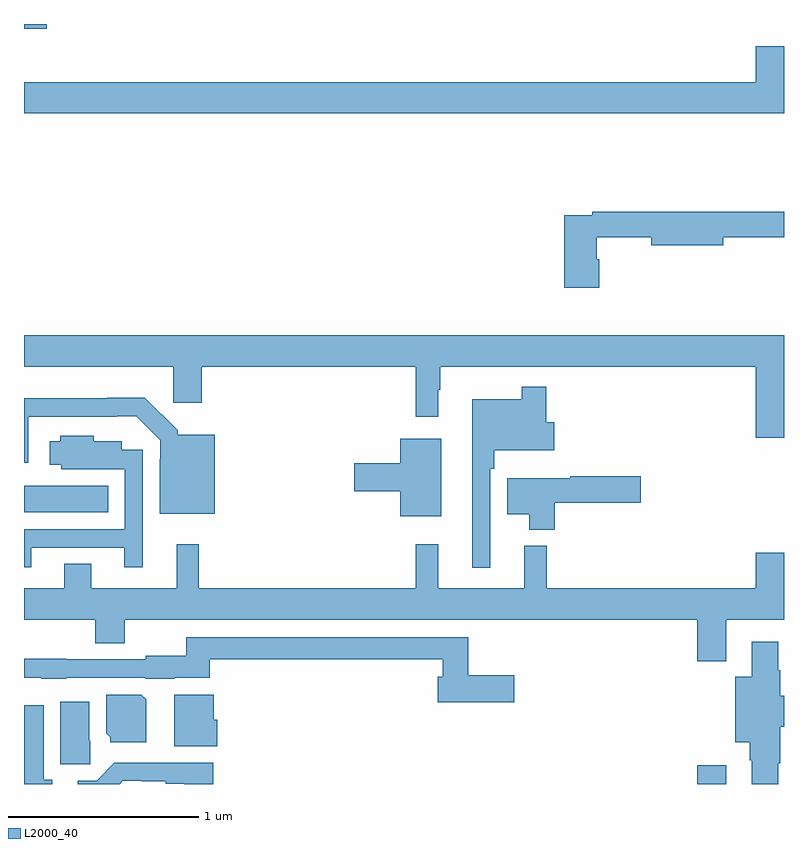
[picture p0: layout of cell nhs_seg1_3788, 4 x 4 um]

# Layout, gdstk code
import gdstk
lib = gdstk.Library(unit=1e-6, precision=1e-09)
def R(c, l, rs):  # rectangles x0, y0, x1, y1
    for r in rs: c.add(gdstk.rectangle(r[:2], r[2:], *l))
def P(c, l, *ps):  # polygons
    for p in ps: c.add(gdstk.Polygon(p, *l))
L2000_40 = (2000, 40)

nhs_seg1_3788 = lib.new_cell('nhs_seg1_3788')
R(nhs_seg1_3788, L2000_40, [(320.543,552.199,320.695,552.298), (317,553.628,317.444,553.768), (317,556.175,317.119,556.199)])
P(nhs_seg1_3788, L2000_40, [(321,556.081),(320.852,556.081),(320.852,555.892),(317,555.892),(317,555.728),(321,555.728)],
  [(320.027,554.961),(320.014,554.961),(320.014,555.076),(320.3,555.076),(320.3,555.034),(320.68,555.034),(320.68,555.076),(321,555.076),(321,555.212),(319.99,555.212),(319.99,555.192),(319.844,555.192),(319.844,554.811),(320.027,554.811)],
  [(317,554.396),(317.785,554.396),(317.785,554.205),(317.936,554.205),(317.936,554.396),(319.063,554.396),(319.063,554.133),(319.18,554.133),(319.18,554.273),(319.192,554.273),(319.192,554.396),(320.852,554.396),(320.852,554.022),(321,554.022),(321,554.56),(317,554.56)],
  [(319.455,553.859),(319.475,553.859),(319.475,553.955),(319.792,553.955),(319.792,554.103),(319.748,554.103),(319.748,554.29),(319.62,554.29),(319.62,554.224),(319.358,554.224),(319.358,553.338),(319.455,553.338)],
  [(318.004,554.038),(317.808,554.038),(317.808,554.061),(317.636,554.233),(317.437,554.233),(317.437,554.23),(317,554.23),(317,553.89),(317.022,553.89),(317.022,554.133),(317.489,554.133),(317.489,554.135),(317.591,554.135),(317.718,554.007),(317.718,553.907),(317.714,553.907),(317.714,553.622),(318.004,553.622)],
  [(317.038,553.443),(317.528,553.443),(317.528,553.341),(317.625,553.341),(317.625,553.959),(317.515,553.959),(317.515,554.002),(317.368,554.002),(317.368,554.032),(317.192,554.032),(317.192,554.002),(317.135,554.002),(317.135,553.88),(317.196,553.88),(317.196,553.856),(317.529,553.856),(317.529,553.539),(317,553.539),(317,553.341),(317.038,553.341)],
  [(319.195,554.017),(318.98,554.017),(318.98,553.886),(318.738,553.886),(318.738,553.739),(318.98,553.739),(318.98,553.607),(319.195,553.607)],
  [(319.793,553.678),(320.245,553.678),(320.245,553.82),(319.876,553.82),(319.876,553.807),(319.544,553.807),(319.544,553.619),(319.658,553.619),(319.658,553.538),(319.793,553.538)],
  [(320.695,553.064),(321,553.064),(321,553.417),(320.852,553.417),(320.852,553.228),(319.751,553.228),(319.751,553.453),(319.634,553.453),(319.634,553.228),(319.181,553.228),(319.181,553.462),(319.063,553.462),(319.063,553.228),(317.921,553.228),(317.921,553.462),(317.804,553.462),(317.804,553.228),(317.353,553.228),(317.353,553.358),(317.213,553.358),(317.213,553.228),(317,553.228),(317,553.064),(317.374,553.064),(317.374,552.94),(317.529,552.94),(317.529,553.064),(320.543,553.064),(320.543,552.846),(320.695,552.846)],
  [(319.579,552.771),(319.337,552.771),(319.337,552.972),(317.853,552.972),(317.853,552.874),(317.64,552.874),(317.64,552.855),(317.223,552.855),(317.223,552.857),(317,552.857),(317,552.758),(317.091,552.758),(317.091,552.752),(317.223,552.752),(317.223,552.759),(317.64,552.759),(317.64,552.752),(317.79,552.752),(317.79,552.758),(317.977,552.758),(317.977,552.856),(319.205,552.856),(319.205,552.763),(319.178,552.763),(319.178,552.629),(319.579,552.629)],
  [(320.971,552.307),(320.979,552.307),(320.979,552.5),(321,552.5),(321,552.664),(320.979,552.664),(320.979,552.798),(320.971,552.798),(320.971,552.949),(320.831,552.949),(320.831,552.763),(320.744,552.763),(320.744,552.419),(320.819,552.419),(320.819,552.323),(320.831,552.323),(320.831,552.199),(320.971,552.199)],
  [(317.644,552.644),(317.618,552.67),(317.432,552.67),(317.432,552.466),(317.454,552.444),(317.454,552.419),(317.644,552.419)],
  [(318.016,552.537),(317.998,552.537),(317.998,552.668),(317.792,552.668),(317.792,552.398),(318.016,552.398)],
  [(317.348,552.426),(317.344,552.426),(317.344,552.631),(317.192,552.631),(317.192,552.303),(317.348,552.303)],
  [(317.149,552.222),(317.104,552.222),(317.104,552.613),(317,552.613),(317,552.199),(317.149,552.199)],
  [(317.52,552.216),(317.62,552.216),(317.62,552.213),(317.747,552.213),(317.747,552.201),(317.843,552.201),(317.843,552.199),(317.996,552.199),(317.996,552.31),(317.476,552.31),(317.382,552.216),(317.283,552.216),(317.283,552.199),(317.503,552.199)])

lib.write_gds('nhs_seg1_3788.gds')
